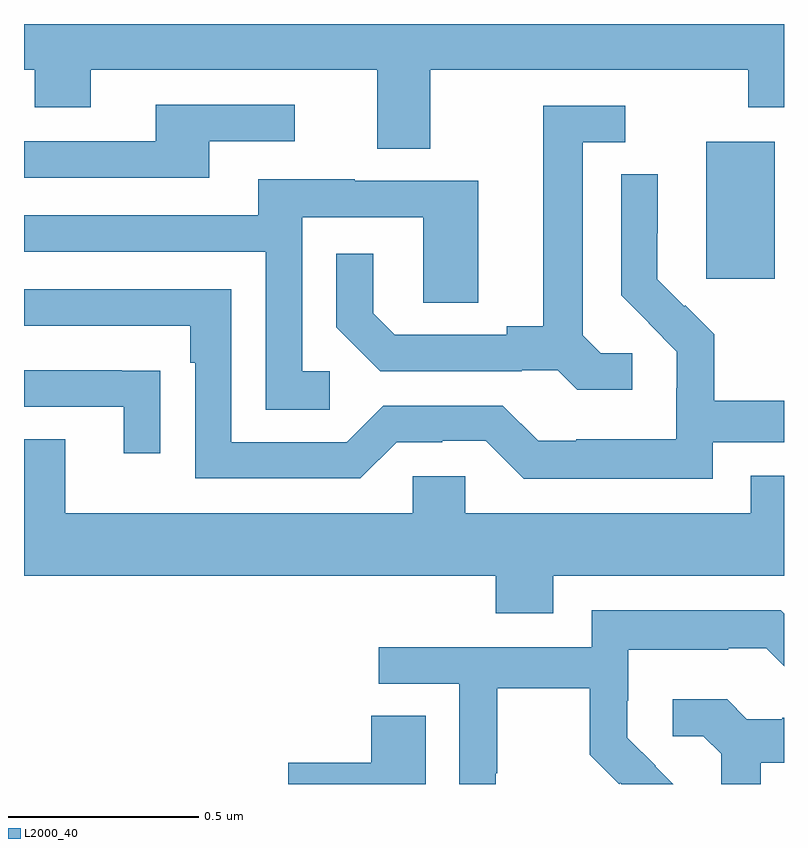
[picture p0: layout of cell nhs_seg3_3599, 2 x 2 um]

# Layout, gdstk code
import gdstk
lib = gdstk.Library(unit=1e-6, precision=1e-09)
def R(c, l, rs):  # rectangles x0, y0, x1, y1
    for r in rs: c.add(gdstk.rectangle(r[:2], r[2:], *l))
def P(c, l, *ps):  # polygons
    for p in ps: c.add(gdstk.Polygon(p, *l))
L2000_40 = (2000, 40)

nhs_seg3_3599 = lib.new_cell('nhs_seg3_3599')
R(nhs_seg3_3599, L2000_40, [(157.796,669.729,157.975,670.09)])
P(nhs_seg3_3599, L2000_40, [(157.069,670.28),(157.906,670.28),(157.906,670.181),(158,670.181),(158,670.4),(156,670.4),(156,670.28),(156.028,670.28),(156.028,670.181),(156.175,670.181),(156.175,670.28),(156.929,670.28),(156.929,670.072),(157.069,670.072)],
  [(156.487,670.092),(156.712,670.092),(156.712,670.188),(156.347,670.188),(156.347,670.092),(156,670.092),(156,669.996),(156.487,669.996)],
  [(157.6,669.534),(157.518,669.534),(157.471,669.581),(157.471,670.089),(157.582,670.089),(157.582,670.185),(157.367,670.185),(157.367,669.605),(157.271,669.605),(157.271,669.582),(156.976,669.582),(156.919,669.639),(156.919,669.796),(156.822,669.796),(156.822,669.602),(156.938,669.486),(157.31,669.486),(157.31,669.489),(157.404,669.489),(157.456,669.437),(157.6,669.437)],
  [(157.812,669.3),(158,669.3),(158,669.409),(157.817,669.409),(157.817,669.583),(157.74,669.66),(157.737,669.657),(157.667,669.728),(157.667,669.85),(157.668,669.85),(157.668,670.004),(157.572,670.004),(157.572,669.686),(157.645,669.613),(157.644,669.612),(157.718,669.538),(157.718,669.441),(157.716,669.441),(157.716,669.307),(157.453,669.307),(157.453,669.303),(157.353,669.303),(157.26,669.396),(156.945,669.396),(156.849,669.3),(156.546,669.3),(156.546,669.702),(156,669.702),(156,669.606),(156.437,669.606),(156.437,669.509),(156.45,669.509),(156.45,669.204),(156.885,669.204),(156.981,669.3),(157.1,669.3),(157.1,669.303),(157.215,669.303),(157.315,669.203),(157.812,669.203)],
  [(156.805,669.486),(156.732,669.486),(156.732,669.891),(157.05,669.891),(157.05,669.667),(157.195,669.667),(157.195,669.987),(156.871,669.987),(156.871,669.991),(156.617,669.991),(156.617,669.897),(156,669.897),(156,669.801),(156.636,669.801),(156.636,669.385),(156.805,669.385)],
  [(156.359,669.488),(156.257,669.488),(156.257,669.489),(156,669.489),(156,669.393),(156.263,669.393),(156.263,669.27),(156.359,669.27)],
  [(157.393,668.948),(158,668.948),(158,669.211),(157.913,669.211),(157.913,669.112),(157.161,669.112),(157.161,669.21),(157.023,669.21),(157.023,669.112),(156.109,669.112),(156.109,669.307),(156,669.307),(156,668.948),(157.241,668.948),(157.241,668.849),(157.393,668.849)],
  [(157.242,668.428),(157.245,668.428),(157.245,668.652),(157.489,668.652),(157.489,668.477),(157.566,668.4),(157.569,668.403),(157.572,668.4),(157.708,668.4),(157.661,668.447),(157.662,668.448),(157.588,668.522),(157.588,668.619),(157.59,668.619),(157.59,668.753),(157.853,668.753),(157.853,668.757),(157.953,668.757),(158,668.71),(158,668.848),(157.991,668.857),(157.494,668.857),(157.494,668.76),(156.933,668.76),(156.933,668.664),(157.146,668.664),(157.146,668.4),(157.242,668.4)],
  [(157.939,668.456),(158,668.456),(158,668.574),(157.996,668.574),(157.996,668.571),(157.902,668.571),(157.85,668.623),(157.707,668.623),(157.707,668.526),(157.788,668.526),(157.835,668.479),(157.835,668.4),(157.939,668.4)],
  [(157.057,668.579),(156.914,668.579),(156.914,668.456),(156.696,668.456),(156.696,668.4),(157.057,668.4)])

lib.write_gds('nhs_seg3_3599.gds')
